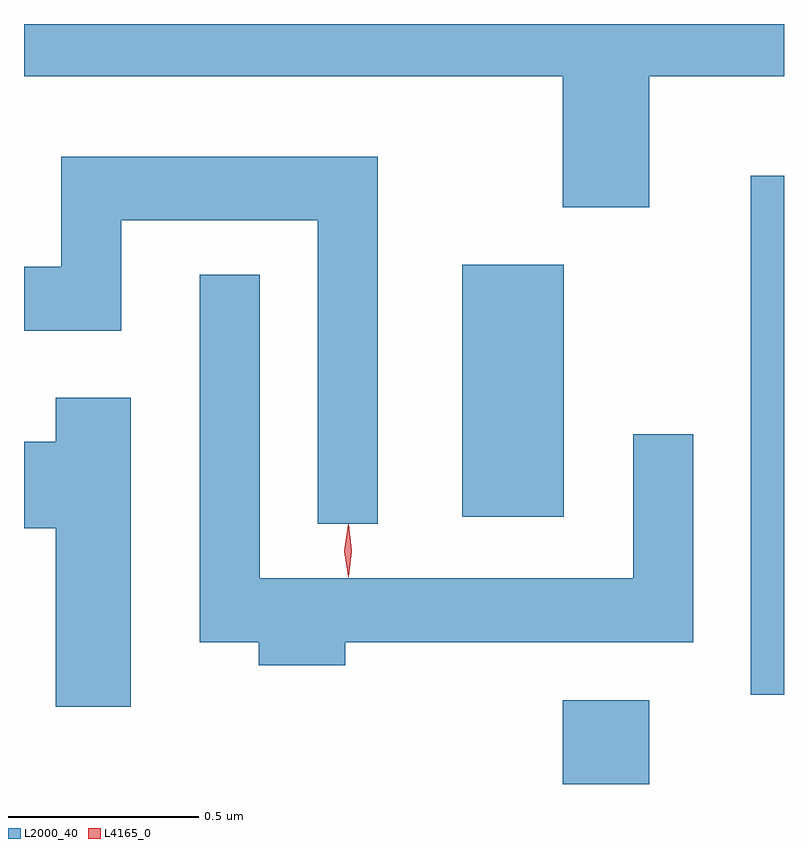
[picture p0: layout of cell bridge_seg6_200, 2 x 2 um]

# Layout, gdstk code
import gdstk
lib = gdstk.Library(unit=1e-6, precision=1e-09)
def R(c, l, rs):  # rectangles x0, y0, x1, y1
    for r in rs: c.add(gdstk.rectangle(r[:2], r[2:], *l))
def P(c, l, *ps):  # polygons
    for p in ps: c.add(gdstk.Polygon(p, *l))
L2000_40 = (2000, 40)
L4165_0 = (4165, 0)

bridge_seg6_200 = lib.new_cell('bridge_seg6_200')
R(bridge_seg6_200, L2000_40, [(1046.541,1579.253,1046.769,1579.474), (1047.036,1579.488,1047.123,1580.854), (1046.276,1579.956,1046.544,1580.619)])
P(bridge_seg6_200, L2000_40, [(1046.769,1581.116),(1047.123,1581.116),(1047.123,1581.253),(1045.123,1581.253),(1045.123,1581.116),(1046.541,1581.116),(1046.541,1580.771),(1046.769,1580.771)],
  [(1046.054,1580.904),(1045.221,1580.904),(1045.221,1580.614),(1045.123,1580.614),(1045.123,1580.446),(1045.379,1580.446),(1045.379,1580.736),(1045.896,1580.736),(1045.896,1579.938),(1046.054,1579.938)],
  [(1045.969,1579.626),(1046.884,1579.626),(1046.884,1580.173),(1046.726,1580.173),(1046.726,1579.794),(1045.744,1579.794),(1045.744,1580.593),(1045.586,1580.593),(1045.586,1579.626),(1045.741,1579.626),(1045.741,1579.566),(1045.969,1579.566)],
  [(1045.404,1580.269),(1045.206,1580.269),(1045.206,1580.154),(1045.123,1580.154),(1045.123,1579.926),(1045.206,1579.926),(1045.206,1579.456),(1045.404,1579.456)])
P(bridge_seg6_200, L4165_0, [(1045.976,1579.797),(1045.976,1579.798),(1045.966,1579.867),(1045.976,1579.936),(1045.976,1579.936),(1045.977,1579.936),(1045.986,1579.867),(1045.977,1579.798)],
  [(1045.976,1579.8),(1045.976,1579.8),(1045.966,1579.866),(1045.976,1579.932),(1045.976,1579.933),(1045.977,1579.932),(1045.986,1579.866),(1045.977,1579.8)])

lib.write_gds('bridge_seg6_200.gds')
